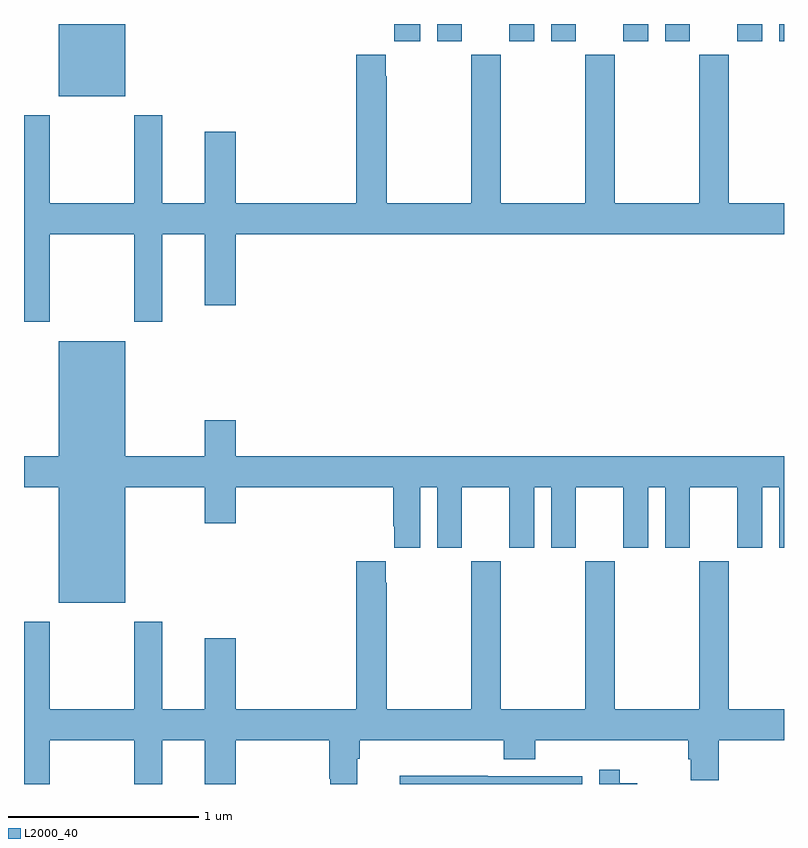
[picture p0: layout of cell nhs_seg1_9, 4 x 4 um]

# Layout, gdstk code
import gdstk
lib = gdstk.Library(unit=1e-6, precision=1e-09)
def R(c, l, rs):  # rectangles x0, y0, x1, y1
    for r in rs: c.add(gdstk.rectangle(r[:2], r[2:], *l))
def P(c, l, *ps):  # polygons
    for p in ps: c.add(gdstk.Polygon(p, *l))
L2000_40 = (2000, 40)

nhs_seg1_9 = lib.new_cell('nhs_seg1_9')
R(nhs_seg1_9, L2000_40, [(111.182,525.818,111.532,526.199), (112.949,526.107,113.086,526.199), (113.174,526.107,113.305,526.199), (113.555,526.107,113.686,526.199), (113.774,526.107,113.905,526.199), (114.155,526.107,114.286,526.199), (114.374,526.107,114.505,526.199), (114.755,526.107,114.886,526.199), (114.974,526.107,115,526.199)])
P(nhs_seg1_9, L2000_40, [(111.135,525.092),(111.58,525.092),(111.58,524.631),(111.727,524.631),(111.727,525.092),(111.95,525.092),(111.95,524.718),(112.114,524.718),(112.114,525.092),(115,525.092),(115,525.256),(114.708,525.256),(114.708,526.036),(114.553,526.036),(114.553,525.256),(114.108,525.256),(114.108,526.036),(113.953,526.036),(113.953,525.256),(113.508,525.256),(113.508,526.036),(113.353,526.036),(113.353,525.256),(112.908,525.256),(112.908,525.923),(112.903,525.923),(112.903,526.036),(112.748,526.036),(112.748,525.256),(112.114,525.256),(112.114,525.631),(111.95,525.631),(111.95,525.256),(111.727,525.256),(111.727,525.718),(111.58,525.718),(111.58,525.256),(111.135,525.256),(111.135,525.718),(111,525.718),(111,524.631),(111.135,524.631)],
  [(111.532,523.76),(111.95,523.76),(111.95,523.572),(112.114,523.572),(112.114,523.76),(112.943,523.76),(112.943,523.555),(112.949,523.555),(112.949,523.443),(113.086,523.443),(113.086,523.76),(113.174,523.76),(113.174,523.443),(113.305,523.443),(113.305,523.76),(113.555,523.76),(113.555,523.443),(113.686,523.443),(113.686,523.76),(113.774,523.76),(113.774,523.443),(113.905,523.443),(113.905,523.76),(114.155,523.76),(114.155,523.443),(114.286,523.443),(114.286,523.76),(114.374,523.76),(114.374,523.443),(114.505,523.443),(114.505,523.76),(114.755,523.76),(114.755,523.443),(114.886,523.443),(114.886,523.76),(114.974,523.76),(114.974,523.443),(115,523.443),(115,523.924),(112.114,523.924),(112.114,524.113),(111.95,524.113),(111.95,523.924),(111.532,523.924),(111.532,524.53),(111.182,524.53),(111.182,523.924),(111,523.924),(111,523.76),(111.182,523.76),(111.182,523.154),(111.532,523.154)],
  [(111.135,522.428),(111.58,522.428),(111.58,522.199),(111.727,522.199),(111.727,522.428),(111.95,522.428),(111.95,522.199),(112.114,522.199),(112.114,522.428),(112.606,522.428),(112.606,522.226),(112.613,522.226),(112.613,522.199),(112.753,522.199),(112.753,522.332),(112.766,522.332),(112.766,522.428),(113.525,522.428),(113.525,522.329),(113.69,522.329),(113.69,522.428),(114.497,522.428),(114.497,522.33),(114.509,522.33),(114.509,522.22),(114.657,522.22),(114.657,522.428),(115,522.428),(115,522.592),(114.708,522.592),(114.708,523.371),(114.553,523.371),(114.553,522.592),(114.108,522.592),(114.108,523.371),(113.953,523.371),(113.953,522.592),(113.508,522.592),(113.508,523.371),(113.353,523.371),(113.353,522.592),(112.908,522.592),(112.908,523.259),(112.903,523.259),(112.903,523.371),(112.748,523.371),(112.748,522.592),(112.114,522.592),(112.114,522.967),(111.95,522.967),(111.95,522.592),(111.727,522.592),(111.727,523.054),(111.58,523.054),(111.58,522.592),(111.135,522.592),(111.135,523.054),(111,523.054),(111,522.199),(111.135,522.199)],
  [(114.228,522.204),(114.136,522.204),(114.136,522.274),(114.027,522.274),(114.027,522.199),(114.228,522.199)],
  [(113.937,522.24),(113.441,522.24),(113.441,522.242),(112.978,522.242),(112.978,522.199),(113.937,522.199)])

lib.write_gds('nhs_seg1_9.gds')
